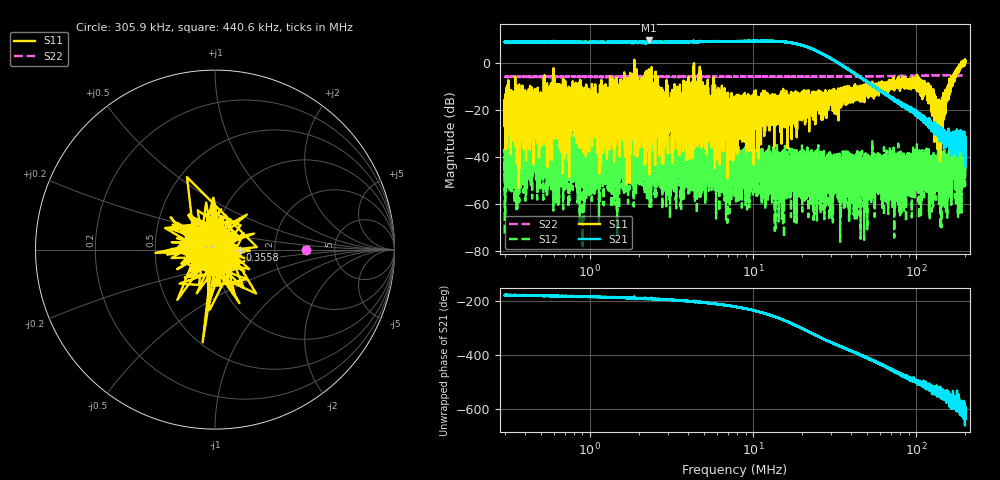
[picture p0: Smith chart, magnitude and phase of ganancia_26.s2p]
# Hz S DB R 50
! CMT, M5065, 19127446, 24.2.4/2
! Date: 11/1/2024 4:30:12 PM
! Data: Format (Calibration Info)
! Freq	S11:dB/Ang(F2)	S21:dB/Ang(F2)	S12:dB/Ang(F2)	S22:dB/Ang(F2)
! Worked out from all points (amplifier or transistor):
!   9000 points, 300 kHz to 200 MHz, reference 50 ohm
!   highest |S21| = 9.6 dB at 2.295 MHz (marker M1)
!   |S21| within 3 dB of that: start of sweep to 21.82 MHz (the widest 1 of 4)
!   unconditionally stable (mu >= 1): 1.872 MHz to 4.342 MHz; 4.346 MHz to 187.7 MHz; 189.6 MHz to 191.3 MHz (the widest 3 of 19)
!   at 886.8 kHz: K = 12.23, MAG = 10.2 dB, |S12| = -39.2 dB
!   at 7.749 MHz: K = 11.58, MAG = 10.7 dB, |S12| = -39.4 dB
!   at 200 MHz: K = -317.93, MSG = 5.3 dB, |S12| = -43.1 dB
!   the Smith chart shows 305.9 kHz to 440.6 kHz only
!   S11 on the Smith chart (normalised r, x): 305.9 kHz: 0.98, +0.11; 355.8 kHz: 1.32, -0.01; 440.6 kHz: 0.95, -0.16
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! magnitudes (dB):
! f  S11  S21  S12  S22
! 300 kHz  -20.8  9.0  -72.5  -5.9
! 305.9 kHz  -24.8  8.9  -54.2  -5.9
! 310.1 kHz  -22.9  8.9  -38.4  -5.9
! 313.5 kHz  -26.0  8.9  -39.9  -5.9
! 355.8 kHz  -17.2  8.8  -33.7  -5.8
! 440.6 kHz  -21.4  8.9  -29.9  -5.9
! 886.8 kHz  -25.7  8.8  -39.2  -5.8
! 2.295 MHz  -2.7  9.6  -27.7  -6.1
! 2.621 MHz  -17.1  9.0  -31.5  -5.8
! 3.681 MHz  -20.2  9.0  -40.0  -5.8
! 4.229 MHz  -14.2  9.1  -54.2  -5.9
! 6.185 MHz  -26.6  9.1  -32.5  -5.8
! 6.933 MHz  -19.5  9.2  -41.4  -5.9
! 7.749 MHz  -15.3  9.3  -39.4  -5.9
! 9.018 MHz  -15.0  9.3  -40.0  -5.8
! 22.91 MHz  -17.1  6.1  -46.9  -5.8
! 67.71 MHz  -12.0  -14.2  -53.8  -5.6
! 112.8 MHz  -8.1  -24.6  -47.8  -5.4
! 124.9 MHz  -17.5  -26.0  -45.4  -5.3
! 137.8 MHz  -23.0  -29.8  -46.0  -5.2
! 164.7 MHz  -6.6  -34.4  -41.1  -5.2
! 200 MHz  0.6  -32.6  -43.1  -5.3
